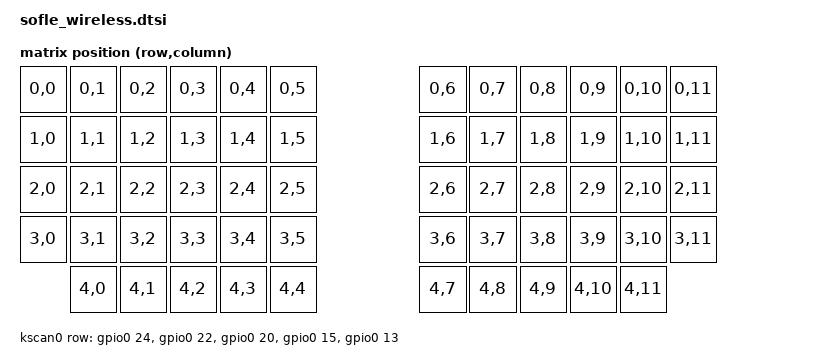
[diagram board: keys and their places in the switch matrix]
/*
 * ZMK Common Devicetree Definition for Sofle v2 Wireless (Left & Right PCBs)
 * MCU Module: Raytac MDBT50Q-1MV2 (nRF52840)
 *
 * Matrix Pinout (shared on both Left and Right PCBs):
 *   row0: P0.24 (MDBT50Q Pin 48)
 *   row1: P0.22 (MDBT50Q Pin 46)
 *   row2: P0.20 (MDBT50Q Pin 44)
 *   row3: P0.15 (MDBT50Q Pin 39)
 *   row4: P0.13 (MDBT50Q Pin 37)
 *
 *   col0 (SW6/12/18/24/30): P1.10 (MDBT50Q Pin 3)
 *   col1 (SW5/11/17/23/29): P1.11 (MDBT50Q Pin 4)
 *   col2 (SW4/10/16/22/28): P1.13 (MDBT50Q Pin 6)
 *   col3 (SW3/9/15/21/27):  P1.15 (MDBT50Q Pin 8)
 *   col4 (SW2/8/14/20/26):  P0.29 (MDBT50Q Pin 10)
 *   col5 (SW1/7/13/19):     P0.31 (MDBT50Q Pin 12)
 *
 * Battery Voltage Divider:
 *   VBAT_SENSE: P0.30 / AIN6 (MDBT50Q Pin 14), R5 = 100k (high side), R6 = 220k (low side)
 */

#include <dt-bindings/zmk/matrix_transform.h>

/ {
    chosen {
        zmk,kscan = &kscan0;
        zmk,matrix-transform = &default_transform;
        zmk,battery = &vbatt;
    };

    default_transform: keymap_transform_0 {
        compatible = "zmk,matrix-transform";
        columns = <12>;
        rows = <5>;
        /*
         * 58-key Sofle v2 layout (Rotary encoders SW25 removed on both halves):
         * Row 0: 6 left + 6 right
         * Row 1: 6 left + 6 right
         * Row 2: 6 left + 6 right
         * Row 3: 6 left + 6 right
         * Row 4: 5 left thumb + 5 right thumb
         */
        map = <
            RC(0,0) RC(0,1) RC(0,2) RC(0,3) RC(0,4) RC(0,5)                 RC(0,6) RC(0,7) RC(0,8) RC(0,9) RC(0,10) RC(0,11)
            RC(1,0) RC(1,1) RC(1,2) RC(1,3) RC(1,4) RC(1,5)                 RC(1,6) RC(1,7) RC(1,8) RC(1,9) RC(1,10) RC(1,11)
            RC(2,0) RC(2,1) RC(2,2) RC(2,3) RC(2,4) RC(2,5)                 RC(2,6) RC(2,7) RC(2,8) RC(2,9) RC(2,10) RC(2,11)
            RC(3,0) RC(3,1) RC(3,2) RC(3,3) RC(3,4) RC(3,5)                 RC(3,6) RC(3,7) RC(3,8) RC(3,9) RC(3,10) RC(3,11)
                    RC(4,0) RC(4,1) RC(4,2) RC(4,3) RC(4,4)                 RC(4,7) RC(4,8) RC(4,9) RC(4,10) RC(4,11)
        >;
    };

    kscan0: kscan {
        compatible = "zmk,kscan-gpio-matrix";
        wakeup-source;
        diode-direction = "col2row";

        row-gpios
            = <&gpio0 24 (GPIO_ACTIVE_HIGH | GPIO_PULL_DOWN)>
            , <&gpio0 22 (GPIO_ACTIVE_HIGH | GPIO_PULL_DOWN)>
            , <&gpio0 20 (GPIO_ACTIVE_HIGH | GPIO_PULL_DOWN)>
            , <&gpio0 15 (GPIO_ACTIVE_HIGH | GPIO_PULL_DOWN)>
            , <&gpio0 13 (GPIO_ACTIVE_HIGH | GPIO_PULL_DOWN)>
            ;
    };

    vbatt: vbatt {
        compatible = "zmk,battery-voltage-divider";
        io-channels = <&adc 6>; /* P0.30 = AIN6 */
        output-ohms = <220000>; /* R6 = 220k */
        full-ohms = <(100000 + 220000)>; /* R5 = 100k + R6 = 220k */
    };
};

&adc {
    status = "okay";
};

&gpiote {
    status = "okay";
};

&gpio0 {
    status = "okay";
};

&gpio1 {
    status = "okay";
};

&usbd {
    status = "okay";
};
